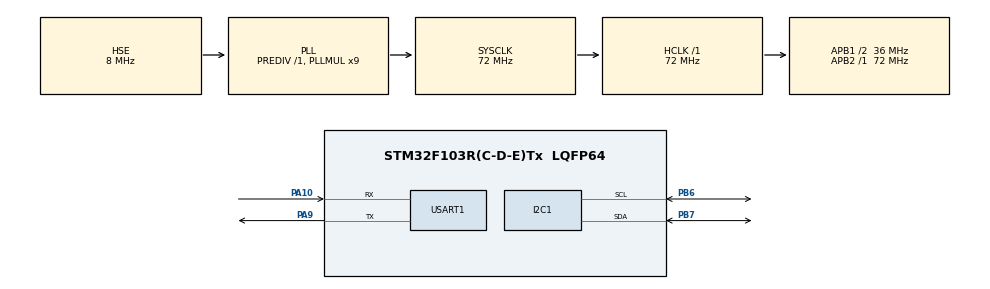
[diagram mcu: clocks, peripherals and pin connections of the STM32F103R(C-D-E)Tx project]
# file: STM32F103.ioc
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Dma.I2C1_RX.0.Direction=DMA_PERIPH_TO_MEMORY
Dma.I2C1_RX.0.Instance=DMA1_Channel7
Dma.I2C1_RX.0.MemDataAlignment=DMA_MDATAALIGN_BYTE
Dma.I2C1_RX.0.MemInc=DMA_MINC_ENABLE
Dma.I2C1_RX.0.Mode=DMA_NORMAL
Dma.I2C1_RX.0.PeriphDataAlignment=DMA_PDATAALIGN_BYTE
Dma.I2C1_RX.0.PeriphInc=DMA_PINC_DISABLE
Dma.I2C1_RX.0.Priority=DMA_PRIORITY_LOW
Dma.I2C1_TX.1.Direction=DMA_MEMORY_TO_PERIPH
Dma.I2C1_TX.1.Instance=DMA1_Channel6
Dma.I2C1_TX.1.MemDataAlignment=DMA_MDATAALIGN_BYTE
Dma.I2C1_TX.1.MemInc=DMA_MINC_ENABLE
Dma.I2C1_TX.1.Mode=DMA_NORMAL
Dma.I2C1_TX.1.PeriphDataAlignment=DMA_PDATAALIGN_BYTE
Dma.I2C1_TX.1.PeriphInc=DMA_PINC_DISABLE
Dma.I2C1_TX.1.Priority=DMA_PRIORITY_LOW
Dma.Request0=I2C1_RX
Dma.Request1=I2C1_TX
Dma.Request2=USART1_RX
Dma.Request3=USART1_TX
Dma.USART1_RX.2.Direction=DMA_PERIPH_TO_MEMORY
Dma.USART1_RX.2.Instance=DMA1_Channel5
Dma.USART1_RX.2.MemDataAlignment=DMA_MDATAALIGN_BYTE
Dma.USART1_RX.2.MemInc=DMA_MINC_ENABLE
Dma.USART1_RX.2.Mode=DMA_NORMAL
Dma.USART1_RX.2.PeriphDataAlignment=DMA_PDATAALIGN_BYTE
Dma.USART1_RX.2.PeriphInc=DMA_PINC_DISABLE
Dma.USART1_RX.2.Priority=DMA_PRIORITY_LOW
Dma.USART1_TX.3.Direction=DMA_MEMORY_TO_PERIPH
Dma.USART1_TX.3.Instance=DMA1_Channel4
Dma.USART1_TX.3.MemDataAlignment=DMA_MDATAALIGN_BYTE
Dma.USART1_TX.3.MemInc=DMA_MINC_ENABLE
Dma.USART1_TX.3.Mode=DMA_NORMAL
Dma.USART1_TX.3.PeriphDataAlignment=DMA_PDATAALIGN_BYTE
Dma.USART1_TX.3.PeriphInc=DMA_PINC_DISABLE
Dma.USART1_TX.3.Priority=DMA_PRIORITY_LOW
I2C1.I2C_Mode=I2C_Fast
I2C1.OwnAddress=0
Mcu.Family=STM32F1
Mcu.Name=STM32F103R(C-D-E)Tx
Mcu.Package=LQFP64
NVIC.DMA1_Channel4_IRQn=true\:0\:0\:false\:false\:true
NVIC.DMA1_Channel5_IRQn=true\:0\:0\:false\:false\:true
NVIC.DMA1_Channel6_IRQn=true\:0\:0\:false\:false\:true
NVIC.DMA1_Channel7_IRQn=true\:0\:0\:false\:false\:true
NVIC.I2C1_ER_IRQn=true\:0\:0\:false\:false\:true
NVIC.I2C1_EV_IRQn=true\:0\:0\:false\:false\:true
NVIC.PriorityGroup=NVIC_PRIORITYGROUP_4
NVIC.USART1_IRQn=true\:0\:0\:false\:false\:true
PA10.Mode=Asynchronous
PA10.Signal=USART1_RX
PA13.Mode=JTAG_5_pins
PA13.Signal=SYS_JTMS-SWDIO
PA14.Mode=JTAG_5_pins
PA14.Signal=SYS_JTCK-SWCLK
PA15.Mode=JTAG_5_pins
PA15.Signal=SYS_JTDI
PA9.Mode=Asynchronous
PA9.Signal=USART1_TX
PB3.Mode=JTAG_5_pins
PB3.Signal=SYS_JTDO-TRACESWO
PB4.Mode=JTAG_5_pins
PB4.Signal=SYS_NJTRST
PB6.Mode=I2C
PB6.Signal=I2C1_SCL
PB7.Mode=I2C
PB7.Signal=I2C1_SDA
PD0-OSC_IN.Mode=HSE-External-Oscillator
PD0-OSC_IN.Signal=RCC_OSC_IN
PD1-OSC_OUT.Mode=HSE-External-Oscillator
PD1-OSC_OUT.Signal=RCC_OSC_OUT
ProjectManager.HeapSize=0x800
ProjectManager.StackSize=0x400
ProjectManager.TargetToolchain=EWARM
RCC.AHBFreq_Value=72000000
RCC.APB1CLKDivider=RCC_HCLK_DIV2
RCC.APB1Freq_Value=36000000
RCC.APB1TimFreq_Value=72000000
RCC.APB2Freq_Value=72000000
RCC.APB2TimFreq_Value=72000000
RCC.HCLKFreq_Value=72000000
RCC.HSIState=RCC_HSI_ON
RCC.PLLMUL=RCC_PLL_MUL9
RCC.PLLSourceVirtual=RCC_PLLSOURCE_HSE
RCC.SYSCLKFreq_VALUE=72000000
RCC.SYSCLKSource=RCC_SYSCLKSOURCE_PLLCLK
RCC.USBFreq_Value=72000000
board=STM32F103

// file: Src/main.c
/**
  ******************************************************************************
  * File Name          : main.c
  * Description        : Main program body
  ******************************************************************************
  *
  * COPYRIGHT(c) 2016 STMicroelectronics
  *
  * Redistribution and use in source and binary forms, with or without modification,
  * are permitted provided that the following conditions are met:
  *   1. Redistributions of source code must retain the above copyright notice,
  *      this list of conditions and the following disclaimer.
  *   2. Redistributions in binary form must reproduce the above copyright notice,
  *      this list of conditions and the following disclaimer in the documentation
  *      and/or other materials provided with the distribution.
  *   3. Neither the name of STMicroelectronics nor the names of its contributors
  *      may be used to endorse or promote products derived from this software
  *      without specific prior written permission.
  *
  * THIS SOFTWARE IS PROVIDED BY THE COPYRIGHT HOLDERS AND CONTRIBUTORS "AS IS"
  * AND ANY EXPRESS OR IMPLIED WARRANTIES, INCLUDING, BUT NOT LIMITED TO, THE
  * IMPLIED WARRANTIES OF MERCHANTABILITY AND FITNESS FOR A PARTICULAR PURPOSE ARE
  * DISCLAIMED. IN NO EVENT SHALL THE COPYRIGHT HOLDER OR CONTRIBUTORS BE LIABLE
  * FOR ANY DIRECT, INDIRECT, INCIDENTAL, SPECIAL, EXEMPLARY, OR CONSEQUENTIAL
  * DAMAGES (INCLUDING, BUT NOT LIMITED TO, PROCUREMENT OF SUBSTITUTE GOODS OR
  * SERVICES; LOSS OF USE, DATA, OR PROFITS; OR BUSINESS INTERRUPTION) HOWEVER
  * CAUSED AND ON ANY THEORY OF LIABILITY, WHETHER IN CONTRACT, STRICT LIABILITY,
  * OR TORT (INCLUDING NEGLIGENCE OR OTHERWISE) ARISING IN ANY WAY OUT OF THE USE
  * OF THIS SOFTWARE, EVEN IF ADVISED OF THE POSSIBILITY OF SUCH DAMAGE.
  *
  ******************************************************************************
  */
#include "main.h"
#include "stm32f1xx_hal.h"
#include "dma.h"
#include "i2c.h"
#include "usart.h"
#include "gpio.h"

/* USER CODE BEGIN Includes */
#include "TaskTimeManager.h"
#include "ProtocolFrame.h"
#include "ComBuff.h"
#include "as5600.h"

/* USER CODE END Includes */

/* USER CODE BEGIN PV */
#define AS5600_RAW_ANGLE_H 0x0c //û�д������ĽǶ�
/* Private variables ---------------------------------------------------------*/

/* USER CODE END PV */

void SystemClock_Config(void);
void Error_Handler(void);

/* USER CODE BEGIN PFP */
/* Private function prototypes -----------------------------------------------*/

/* USER CODE END PFP */

/* USER CODE BEGIN 0 */
uint8_t m_data = 0;

uint8_t addr = 0;
void LED_TEST(void){
  static uint8_t seq = 0;
//  uint8_t data[100] = "123456\r\n";
//  Uart1_DMA_Sender.Write(&Uart1_DMA_Sender, data, 8);
//  memset(data, 0, 8);
  //PRINT_HEAP();
//  printf("LED_TEST:%d\r\n", seq++);

//  uint8_t addr = AS5600_RAW_ANGLE_H;
//  HAL_I2C_Master_Transmit_DMA(&hi2c1, 0x36<<1, &addr, 1);
//  DelayMS(20);
//  HAL_I2C_Master_Receive_DMA(&hi2c1, 0x36<<1, &m_data, 1);
//  printf("%d\r\n", m_data);
}

void ReportAngle(void){
  uint16_t angle = getRawAngle();
  HAL_UART_Transmit(&DEBUG_USART, (uint8_t*)&angle, 2, 100);
}

/* USER CODE END 0 */

int main(void)
{

  /* MCU Configuration----------------------------------------------------------*/

  /* Reset of all peripherals, Initializes the Flash interface and the Systick. */
  HAL_Init();

  /* Configure the system clock */
  SystemClock_Config();

  /* Initialize all configured peripherals */
  MX_GPIO_Init();
  MX_DMA_Init();
  MX_I2C1_Init();
  MX_USART1_UART_Init();

  /* USER CODE BEGIN 2 */
  TaskTime_Init();
  ProtocolFrame_Init();
  Log_Init();
  ComBuff_Init();

  TaskTime_Add(TaskID++, TimeCycle(0,500), LED_TEST, Real_Mode);
  TaskTime_Add(TaskID++, TimeCycle(0,30), SenderKeepTransmit, Real_Mode);
  TaskTime_Add(TaskID++, TimeCycle(0,30), PaddingProtocol, Real_Mode);
	TaskTime_Add(TaskID++, TimeCycle(0,30), FetchProtocols, Real_Mode);
  TaskTime_Add(TaskID++, TimeCycle(0,1), ReportAngle, Real_Mode);
  printf("main done\r\n");
  /* USER CODE END 2 */

  /* Infinite loop */
  while (1)
  {

  /* USER CODE BEGIN 3 */
    TaskTime_Run();
  }
  /* USER CODE END 3 */

}

/** System Clock Configuration
*/
void SystemClock_Config(void)
{

  RCC_OscInitTypeDef RCC_OscInitStruct;
  RCC_ClkInitTypeDef RCC_ClkInitStruct;

    /**Initializes the CPU, AHB and APB busses clocks
    */
  RCC_OscInitStruct.OscillatorType = RCC_OSCILLATORTYPE_HSE;
  RCC_OscInitStruct.HSEState = RCC_HSE_ON;
  RCC_OscInitStruct.HSEPredivValue = RCC_HSE_PREDIV_DIV1;
  RCC_OscInitStruct.HSIState = RCC_HSI_ON;
  RCC_OscInitStruct.PLL.PLLState = RCC_PLL_ON;
  RCC_OscInitStruct.PLL.PLLSource = RCC_PLLSOURCE_HSE;
  RCC_OscInitStruct.PLL.PLLMUL = RCC_PLL_MUL9;
  if (HAL_RCC_OscConfig(&RCC_OscInitStruct) != HAL_OK)
  {
    Error_Handler();
  }

    /**Initializes the CPU, AHB and APB busses clocks
    */
  RCC_ClkInitStruct.ClockType = RCC_CLOCKTYPE_HCLK|RCC_CLOCKTYPE_SYSCLK
                              |RCC_CLOCKTYPE_PCLK1|RCC_CLOCKTYPE_PCLK2;
  RCC_ClkInitStruct.SYSCLKSource = RCC_SYSCLKSOURCE_PLLCLK;
  RCC_ClkInitStruct.AHBCLKDivider = RCC_SYSCLK_DIV1;
  RCC_ClkInitStruct.APB1CLKDivider = RCC_HCLK_DIV2;
  RCC_ClkInitStruct.APB2CLKDivider = RCC_HCLK_DIV1;

  if (HAL_RCC_ClockConfig(&RCC_ClkInitStruct, FLASH_LATENCY_2) != HAL_OK)
  {
    Error_Handler();
  }

    /**Configure the Systick interrupt time
    */
  HAL_SYSTICK_Config(HAL_RCC_GetHCLKFreq()/1000);

    /**Configure the Systick
    */
  HAL_SYSTICK_CLKSourceConfig(SYSTICK_CLKSOURCE_HCLK);

  /* SysTick_IRQn interrupt configuration */
  HAL_NVIC_SetPriority(SysTick_IRQn, 0, 0);
}

void Error_Handler(void)
{
  /* USER CODE BEGIN Error_Handler */
  /* User can add his own implementation to report the HAL error return state */
  while(1)
  {
    Log.error("Error_Handler");
  }
  /* USER CODE END Error_Handler */
}

/************************ (C) COPYRIGHT STMicroelectronics *****END OF FILE****/
